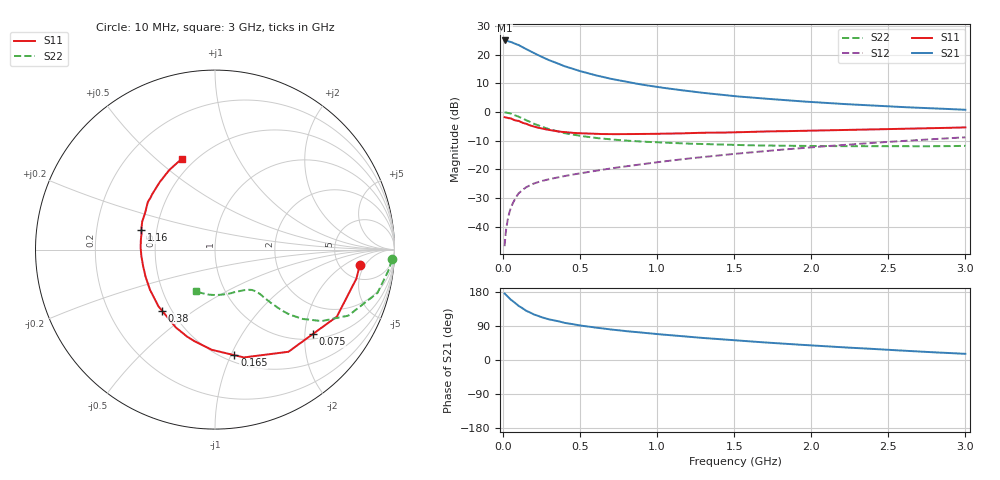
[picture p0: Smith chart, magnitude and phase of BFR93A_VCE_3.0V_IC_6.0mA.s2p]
! Infineon Technologies  Discrete & RF Semiconductors
! BFR93A
! VCE =  3.0 V,  IC =  6.0 mA
! Common Emitter S-Parameters:  Nov 2015
# GHz  S  MA  R  50
!  f  S11  S21  S12  S22
! GHz  MAG  ANG  MAG  ANG  MAG  ANG  MAG  ANG
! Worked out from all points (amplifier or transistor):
!   180 points, 10 MHz to 3 GHz, reference 50 ohm
!   highest |S21| = 24.9 dB at 10 MHz (marker M1)
!   |S21| within 3 dB of that: start of sweep to 150.5 MHz
!   unconditionally stable (mu >= 1): 690.9 MHz to 2.792 GHz
!   at 160 MHz: K = 0.38, MSG = 23.8 dB, |S12| = -26.0 dB
!   at 1.22 GHz: K = 1.12, MAG = 9.6 dB, |S12| = -16.1 dB
!   at 3 GHz: K = 0.98, MSG = 4.8 dB, |S12| = -8.8 dB
!   S11 on the Smith chart (normalised r, x): 10 MHz: 7.75, -3.79; 75 MHz: 1.12, -2.19; 165 MHz: 0.56, -1.03; 380 MHz: 0.44, -0.38; 1.16 GHz: 0.41, +0.11; 3 GHz: 0.43, +0.61
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0.01  0.8118 -5.9  17.57 175.5  0.0046 86.2  0.9851 -3.2
0.02  0.8042 -11.6  17.45 171.3  0.0091 83.4  0.9782 -6.1
0.05  0.775 -28.8  16.66 159.3  0.0214 75.8  0.9372 -14.9
0.075  0.7198 -40.9  15.51 151.6  0.0296 68.7  0.879 -20.3
0.1  0.701 -54.3  14.68 142.9  0.038 64.7  0.8295 -26.3
0.15  0.622 -75.0  12.46 129.8  0.0489 57.4  0.716 -33.8
0.165  0.5978 -79.6  11.87 127.2  0.0512 56.1  0.6879 -35.0
0.2  0.5587 -91.8  10.61 120.2  0.0567 53.4  0.6239 -38.3
0.24  0.5224 -102.8  9.397 114.4  0.0616 51.7  0.5669 -40.4
0.26  0.509 -107.8  8.871 111.7  0.0637 51.1  0.5422 -41.3
0.3  0.4856 -116.7  7.945 107.0  0.0675 50.5  0.5001 -42.4
0.38  0.4503 -131.0  6.563 100.1  0.0748 50.6  0.4413 -43.4
0.4  0.4463 -134.9  6.237 97.9  0.0766 50.6  0.4266 -43.7
0.52  0.4226 -150.3  4.975 90.0  0.0872 51.9  0.3767 -44.3
0.7  0.4109 -167.1  3.775 80.5  0.1039 53.9  0.3324 -45.3
0.88  0.4134 -179.7  3.062 73.1  0.1211 55.5  0.3069 -47.3
1.02  0.4166 172.1  2.675 67.7  0.1353 56.2  0.2946 -49.4
1.16  0.4236 165.2  2.387 62.9  0.1499 56.5  0.2839 -52.3
1.52  0.4425 150.9  1.865 51.4  0.1881 56.1  0.2659 -61.2
2.02  0.4723 135.1  1.478 37.9  0.2443 53.7  0.2553 -76.6
2.52  0.5046 121.9  1.243 26.5  0.3035 49.4  0.2529 -94.5
3  0.5382 110.1  1.092 16.3  0.3618 44.2  0.2568 -114.9
